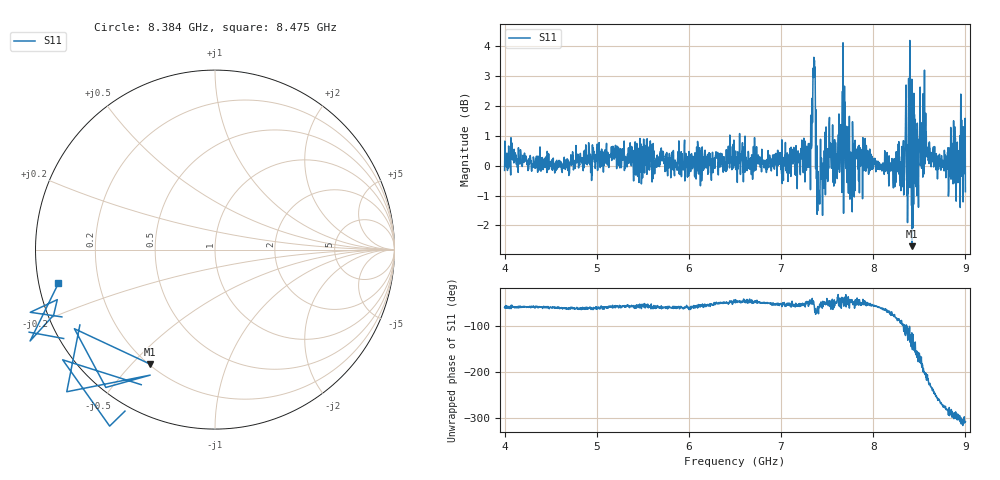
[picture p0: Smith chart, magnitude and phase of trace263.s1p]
! Created with skrf 1.8.0 (http://scikit-rf.org).
# Hz S RI R 50.0
!freq ReS11 ImS11
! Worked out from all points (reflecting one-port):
!   1601 points, 4 GHz to 9 GHz, reference 50 ohm
!   lowest |S11| = -2.7 dB at 8.422 GHz (marker M1), VSWR 6.50, Z = 10.2 - j28.2 ohm
!   phase of S11 starts at -58 deg and turns -251 deg over the sweep
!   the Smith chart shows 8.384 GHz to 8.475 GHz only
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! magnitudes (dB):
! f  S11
! 4 GHz  -0.2
! 4.625 GHz  -0.2
! 5.25 GHz  -0.1
! 5.875 GHz  0.0
! 6.5 GHz  0.3
! 7.125 GHz  0.1
! 7.294 GHz  0.7
! 7.316 GHz  0.8
! 7.347 GHz  3.3
! 7.362 GHz  3.5
! 7.397 GHz  -1.5
! 7.409 GHz  -1.1
! 7.512 GHz  0.3
! 7.588 GHz  -0.6
! 7.669 GHz  0.2
! 7.75 GHz  -0.4
! 8.312 GHz  0.6
! 8.334 GHz  -0.2
! 8.356 GHz  2.7
! 8.375 GHz  -0.7
! 8.422 GHz  -2.7
! 8.447 GHz  1.7
! 8.459 GHz  -0.6
! 8.553 GHz  0.4
! 8.609 GHz  0.8
! 8.806 GHz  0.4
! 8.972 GHz  0.8
! 9 GHz  -0.9
